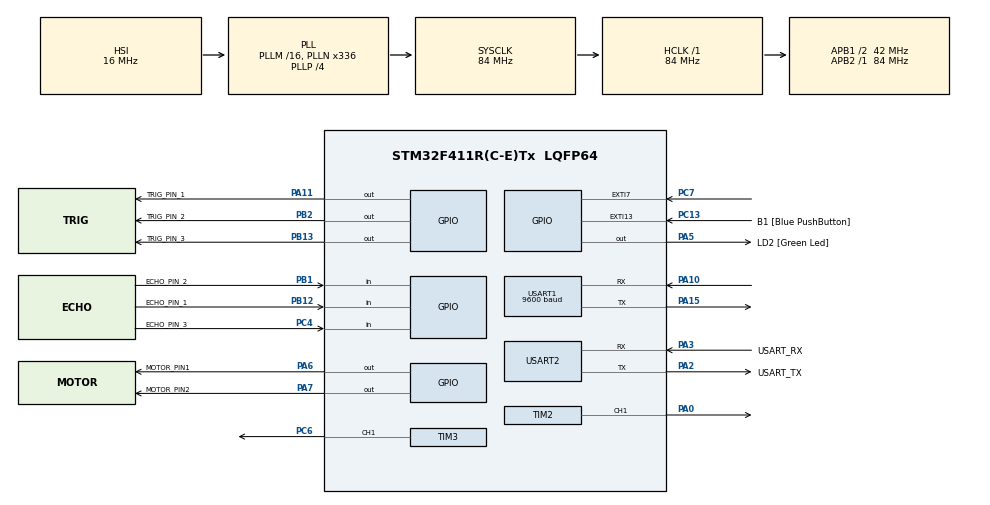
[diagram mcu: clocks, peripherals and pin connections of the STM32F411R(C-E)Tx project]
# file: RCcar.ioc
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FREERTOS.Tasks01=defaultTask,0,128,StartDefaultTask,Default,NULL,Dynamic,NULL,NULL;myTask02,-3,128,UltrasonicTask,Default,NULL,Dynamic,NULL,NULL;myTask03,-3,128,UartSendTask,Default,NULL,Dynamic,NULL,NULL;myTask04,-3,128,MotorControlTask,Default,NULL,Dynamic,NULL,NULL
FREERTOS.configUSE_IDLE_HOOK=1
Mcu.Family=STM32F4
Mcu.Name=STM32F411R(C-E)Tx
Mcu.Package=LQFP64
NVIC.PriorityGroup=NVIC_PRIORITYGROUP_4
NVIC.TIM2_IRQn=true\:5\:0\:false\:false\:true\:true\:true\:true\:true
NVIC.TIM3_IRQn=true\:5\:0\:false\:false\:true\:true\:true\:true\:true
NVIC.TIM4_IRQn=true\:5\:0\:false\:false\:true\:true\:true\:true\:true
NVIC.USART1_IRQn=true\:5\:0\:false\:false\:true\:true\:true\:true\:true
PA0-WKUP.Signal=S_TIM2_CH1_ETR
PA10.Mode=Asynchronous
PA10.Signal=USART1_RX
PA11.GPIO_Label=TRIG_PIN_1
PA11.Signal=GPIO_Output
PA13.GPIO_Label=TMS
PA13.Mode=Serial_Wire
PA13.Signal=SYS_JTMS-SWDIO
PA14.GPIO_Label=TCK
PA14.Mode=Serial_Wire
PA14.Signal=SYS_JTCK-SWCLK
PA15.Mode=Asynchronous
PA15.Signal=USART1_TX
PA2.GPIO_Label=USART_TX
PA2.Mode=Asynchronous
PA2.Signal=USART2_TX
PA3.GPIO_Label=USART_RX
PA3.Mode=Asynchronous
PA3.Signal=USART2_RX
PA5.GPIO_Label=LD2 [Green Led]
PA5.Signal=GPIO_Output
PA6.GPIO_Label=MOTOR_PIN1
PA6.GPIO_ModeDefaultOutputPP=GPIO_MODE_OUTPUT_PP
PA6.GPIO_PuPd=GPIO_NOPULL
PA6.GPIO_Speed=GPIO_SPEED_FREQ_LOW
PA6.PinState=GPIO_PIN_RESET
PA6.Signal=GPIO_Output
PA7.GPIO_Label=MOTOR_PIN2
PA7.GPIO_ModeDefaultOutputPP=GPIO_MODE_OUTPUT_PP
PA7.GPIO_PuPd=GPIO_NOPULL
PA7.GPIO_Speed=GPIO_SPEED_FREQ_LOW
PA7.PinState=GPIO_PIN_RESET
PA7.Signal=GPIO_Output
PB1.GPIO_Label=ECHO_PIN_2
PB1.Signal=GPIO_Input
PB12.GPIO_Label=ECHO_PIN_1
PB12.Signal=GPIO_Input
PB13.GPIO_Label=TRIG_PIN_3
PB13.Signal=GPIO_Output
PB2.GPIO_Label=TRIG_PIN_2
PB2.Signal=GPIO_Output
PB3.GPIO_Label=SWO
PB3.Signal=SYS_JTDO-SWO
PC13-ANTI_TAMP.GPIO_Label=B1 [Blue PushButton]
PC13-ANTI_TAMP.GPIO_ModeDefaultEXTI=GPIO_MODE_IT_FALLING
PC13-ANTI_TAMP.Signal=GPXTI13
PC14-OSC32_IN.Mode=LSE-External-Oscillator
PC14-OSC32_IN.Signal=RCC_OSC32_IN
PC15-OSC32_OUT.Mode=LSE-External-Oscillator
PC15-OSC32_OUT.Signal=RCC_OSC32_OUT
PC4.GPIO_Label=ECHO_PIN_3
PC4.Signal=GPIO_Input
PC6.Signal=S_TIM3_CH1
PC7.Signal=GPXTI7
PH0\ -\ OSC_IN.Mode=HSE-External-Clock-Source
PH0\ -\ OSC_IN.Signal=RCC_OSC_IN
PH1\ -\ OSC_OUT.Mode=HSE-External-Clock-Source
PH1\ -\ OSC_OUT.Signal=RCC_OSC_OUT
ProjectManager.HeapSize=0x200
ProjectManager.StackSize=0x400
ProjectManager.TargetToolchain=STM32CubeIDE
RCC.48MHZClocksFreq_Value=84000000
RCC.AHBFreq_Value=84000000
RCC.APB1CLKDivider=RCC_HCLK_DIV2
RCC.APB1Freq_Value=42000000
RCC.APB1TimFreq_Value=84000000
RCC.APB2Freq_Value=84000000
RCC.APB2TimFreq_Value=84000000
RCC.CortexFreq_Value=84000000
RCC.FLatency-AdvancedSettings=FLASH_LATENCY_2
RCC.HCLKFreq_Value=84000000
RCC.HSE_VALUE=8000000
RCC.HSI_VALUE=16000000
RCC.PLLN=336
RCC.PLLP=RCC_PLLP_DIV4
RCC.SYSCLKFreq_VALUE=84000000
RCC.SYSCLKSource=RCC_SYSCLKSOURCE_PLLCLK
RCC.VCOOutputFreq_Value=336000000
SH.S_TIM2_CH1_ETR.0=TIM2_CH1,PWM Generation1 CH1
SH.S_TIM3_CH1.0=TIM3_CH1,PWM Generation1 CH1
TIM1.Period=1000-1
TIM1.Prescaler=84-1
TIM2.Channel-PWM\ Generation1\ CH1=TIM_CHANNEL_1
TIM2.Period=1000-1
TIM2.Prescaler=84-1
TIM3.Channel-PWM\ Generation1\ CH1=TIM_CHANNEL_1
TIM3.Period=20000-1
TIM3.Prescaler=84-1
TIM4.Period=1000-1
TIM4.Prescaler=84-1
USART1.BaudRate=9600
USART1.VirtualMode=VM_ASYNC
USART2.VirtualMode=VM_ASYNC
VP_FREERTOS_VS_CMSIS_V1.Mode=CMSIS_V1
VP_TIM1_VS_ClockSourceINT.Mode=Internal
VP_TIM2_VS_ClockSourceINT.Mode=Internal
VP_TIM3_VS_ClockSourceINT.Mode=Internal
VP_TIM4_VS_ClockSourceINT.Mode=Internal
board=NUCLEO-F411RE

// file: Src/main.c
/* USER CODE BEGIN Header */
/**
 ******************************************************************************
 * @file           : main.c
 * @brief          : Main program body
 ******************************************************************************
 * @attention
 *
 * Copyright (c) 2025 STMicroelectronics.
 * All rights reserved.
 *
 * This software is licensed under terms that can be found in the LICENSE file
 * in the root directory of this software component.
 * If no LICENSE file comes with this software, it is provided AS-IS.
 *
 ******************************************************************************
 */
/* USER CODE END Header */
#include "main.h"
#include "cmsis_os.h"

/* USER CODE BEGIN Includes */
#include "HC_SR04.h"
#include "motor.h"
#include <stdio.h>
#include <string.h>
/* USER CODE END Includes */

/* USER CODE BEGIN PTD */
osThreadId UltrasonicTaskHandle;
osThreadId UartSendTaskHandle;
osThreadId MotorControlTaskHandle;
/* USER CODE END PTD */

/* USER CODE BEGIN PD */
#ifdef __GNUC__
/* With GCC, small printf (option LD Linker->Libraries->Small printf
   set to 'Yes') calls __io_putchar() */
#define PUTCHAR_PROTOTYPE int __io_putchar(int ch)
#else
#define PUTCHAR_PROTOTYPE int fputc(int ch, FILE *f)
#endif /* __GNUC__ */
#define RX_BUFFER_SIZE 100
#define QUEUE_SIZE 100
/* USER CODE END PD */

TIM_HandleTypeDef htim1;
TIM_HandleTypeDef htim2;
TIM_HandleTypeDef htim3;
TIM_HandleTypeDef htim4;

UART_HandleTypeDef huart1;
UART_HandleTypeDef huart2;

osThreadId defaultTaskHandle;
osThreadId myTask02Handle;
osThreadId myTask03Handle;
osThreadId myTask04Handle;
/* USER CODE BEGIN PV */
__IO uint16_t rx_data;
char rx_buffer[RX_BUFFER_SIZE];
__IO uint8_t rx_index = 0;
__IO int pulse;
__IO float distance[3] = {0.0};
int adcValue[6] = {0};
__IO uint8_t flag_10ms = 0;
__IO uint8_t flag_10ms1 = 0;
__IO uint8_t flag_10ms2 = 0;
char uartBuffer[50];  // UART 전송 버퍼

/* USER CODE END PV */

void SystemClock_Config(void);
static void MX_GPIO_Init(void);
static void MX_USART2_UART_Init(void);
static void MX_TIM3_Init(void);
static void MX_USART1_UART_Init(void);
static void MX_TIM1_Init(void);
static void MX_TIM2_Init(void);
static void MX_TIM4_Init(void);
void StartDefaultTask(void const * argument);
void UltrasonicTask(void const * argument);
void UartSendTask(void const * argument);
void MotorControlTask(void const * argument);

/* USER CODE BEGIN PFP */
void HAL_UART_RxCpltCallback(UART_HandleTypeDef *huart);
void HAL_TIM_PeriodElapsedCallback(TIM_HandleTypeDef *htim);
void Parse_adcValue(void);
void control_servo_motor(int handle_value);
void motorStatus(void);
uint8_t motorDirection(void);
void Task1(void *argument);
void Task2(void *argument);
/* USER CODE END PFP */

int main(void)
{

  /* MCU Configuration--------------------------------------------------------*/

  /* Reset of all peripherals, Initializes the Flash interface and the Systick. */
  HAL_Init();

  /* Configure the system clock */
  SystemClock_Config();

  /* Initialize all configured peripherals */
  MX_GPIO_Init();
  MX_USART2_UART_Init();
  MX_TIM3_Init();
  MX_USART1_UART_Init();
  MX_TIM1_Init();
  MX_TIM2_Init();
  MX_TIM4_Init();
  /* USER CODE BEGIN 2 */
  HAL_TIM_Base_Start(&htim1);
  HAL_TIM_Base_Start_IT(&htim4);
  if (HAL_TIM_PWM_Start(&htim2, TIM_CHANNEL_1) != HAL_OK)
  {
    Error_Handler();
  }
  if (HAL_TIM_PWM_Start(&htim3, TIM_CHANNEL_1) != HAL_OK)
  {
    Error_Handler();
  }
  HAL_UART_Receive_IT(&huart1, (uint8_t *)&rx_data, 1); // UART1에서 1바이트씩 수신
  motorForward();
  /* USER CODE END 2 */

  /* Create the thread(s) */
  /* definition and creation of defaultTask */
  osThreadDef(defaultTask, StartDefaultTask, osPriorityNormal, 0, 128);
  defaultTaskHandle = osThreadCreate(osThread(defaultTask), NULL);

  /* definition and creation of myTask02 */
  osThreadDef(UltrasonicTask, UltrasonicTask, osPriorityNormal, 0, 256);
  UltrasonicTaskHandle = osThreadCreate(osThread(UltrasonicTask), NULL);

  osThreadDef(UartSendTask, UartSendTask, osPriorityNormal, 0, 256);
  UartSendTaskHandle = osThreadCreate(osThread(UartSendTask), NULL);

  osThreadDef(MotorControlTask, MotorControlTask, osPriorityNormal, 0, 256);
  MotorControlTaskHandle = osThreadCreate(osThread(MotorControlTask), NULL);

  /* Start scheduler */
  osKernelStart();

  /* We should never get here as control is now taken by the scheduler */

  /* Infinite loop */
  /* USER CODE BEGIN WHILE */
  while (1)
  {
    // if (flag_10ms)
    // {
    //   flag_10ms = 0;
    //   distance[0] = measure_distance(0);
    //   distance[1] = measure_distance(1);
    //   distance[2] = measure_distance(2);
    //   Parse_adcValue();
    //   control_servo_motor(adcValue[0]);
    //   motorStatus();
    //   printf("%d %d %d %d %d %d\n", adcValue[0], adcValue[1], adcValue[2], adcValue[3], adcValue[4], adcValue[5]);
    // }
    /* USER CODE END WHILE */

  }
}

void SystemClock_Config(void)
{
  RCC_OscInitTypeDef RCC_OscInitStruct = {0};
  RCC_ClkInitTypeDef RCC_ClkInitStruct = {0};

  /** Configure the main internal regulator output voltage
  */
  __HAL_RCC_PWR_CLK_ENABLE();
  __HAL_PWR_VOLTAGESCALING_CONFIG(PWR_REGULATOR_VOLTAGE_SCALE1);

  /** Initializes the RCC Oscillators according to the specified parameters
  * in the RCC_OscInitTypeDef structure.
  */
  RCC_OscInitStruct.OscillatorType = RCC_OSCILLATORTYPE_HSI;
  RCC_OscInitStruct.HSIState = RCC_HSI_ON;
  RCC_OscInitStruct.HSICalibrationValue = RCC_HSICALIBRATION_DEFAULT;
  RCC_OscInitStruct.PLL.PLLState = RCC_PLL_ON;
  RCC_OscInitStruct.PLL.PLLSource = RCC_PLLSOURCE_HSI;
  RCC_OscInitStruct.PLL.PLLM = 16;
  RCC_OscInitStruct.PLL.PLLN = 336;
  RCC_OscInitStruct.PLL.PLLP = RCC_PLLP_DIV4;
  RCC_OscInitStruct.PLL.PLLQ = 4;
  if (HAL_RCC_OscConfig(&RCC_OscInitStruct) != HAL_OK)
  {
    Error_Handler();
  }

  /** Initializes the CPU, AHB and APB buses clocks
  */
  RCC_ClkInitStruct.ClockType = RCC_CLOCKTYPE_HCLK|RCC_CLOCKTYPE_SYSCLK
                              |RCC_CLOCKTYPE_PCLK1|RCC_CLOCKTYPE_PCLK2;
  RCC_ClkInitStruct.SYSCLKSource = RCC_SYSCLKSOURCE_PLLCLK;
  RCC_ClkInitStruct.AHBCLKDivider = RCC_SYSCLK_DIV1;
  RCC_ClkInitStruct.APB1CLKDivider = RCC_HCLK_DIV2;
  RCC_ClkInitStruct.APB2CLKDivider = RCC_HCLK_DIV1;

  if (HAL_RCC_ClockConfig(&RCC_ClkInitStruct, FLASH_LATENCY_2) != HAL_OK)
  {
    Error_Handler();
  }
}

static void MX_TIM1_Init(void)
{

  TIM_ClockConfigTypeDef sClockSourceConfig = {0};
  TIM_MasterConfigTypeDef sMasterConfig = {0};

  htim1.Instance = TIM1;
  htim1.Init.Prescaler = 84-1;
  htim1.Init.CounterMode = TIM_COUNTERMODE_UP;
  htim1.Init.Period = 1000-1;
  htim1.Init.ClockDivision = TIM_CLOCKDIVISION_DIV1;
  htim1.Init.RepetitionCounter = 0;
  htim1.Init.AutoReloadPreload = TIM_AUTORELOAD_PRELOAD_DISABLE;
  if (HAL_TIM_Base_Init(&htim1) != HAL_OK)
  {
    Error_Handler();
  }
  sClockSourceConfig.ClockSource = TIM_CLOCKSOURCE_INTERNAL;
  if (HAL_TIM_ConfigClockSource(&htim1, &sClockSourceConfig) != HAL_OK)
  {
    Error_Handler();
  }
  sMasterConfig.MasterOutputTrigger = TIM_TRGO_RESET;
  sMasterConfig.MasterSlaveMode = TIM_MASTERSLAVEMODE_DISABLE;
  if (HAL_TIMEx_MasterConfigSynchronization(&htim1, &sMasterConfig) != HAL_OK)
  {
    Error_Handler();
  }

}

static void MX_TIM2_Init(void)
{

  TIM_ClockConfigTypeDef sClockSourceConfig = {0};
  TIM_MasterConfigTypeDef sMasterConfig = {0};
  TIM_OC_InitTypeDef sConfigOC = {0};

  htim2.Instance = TIM2;
  htim2.Init.Prescaler = 84-1;
  htim2.Init.CounterMode = TIM_COUNTERMODE_UP;
  htim2.Init.Period = 1000-1;
  htim2.Init.ClockDivision = TIM_CLOCKDIVISION_DIV1;
  htim2.Init.AutoReloadPreload = TIM_AUTORELOAD_PRELOAD_DISABLE;
  if (HAL_TIM_Base_Init(&htim2) != HAL_OK)
  {
    Error_Handler();
  }
  sClockSourceConfig.ClockSource = TIM_CLOCKSOURCE_INTERNAL;
  if (HAL_TIM_ConfigClockSource(&htim2, &sClockSourceConfig) != HAL_OK)
  {
    Error_Handler();
  }
  if (HAL_TIM_PWM_Init(&htim2) != HAL_OK)
  {
    Error_Handler();
  }
  sMasterConfig.MasterOutputTrigger = TIM_TRGO_RESET;
  sMasterConfig.MasterSlaveMode = TIM_MASTERSLAVEMODE_DISABLE;
  if (HAL_TIMEx_MasterConfigSynchronization(&htim2, &sMasterConfig) != HAL_OK)
  {
    Error_Handler();
  }
  sConfigOC.OCMode = TIM_OCMODE_PWM1;
  sConfigOC.Pulse = 0;
  sConfigOC.OCPolarity = TIM_OCPOLARITY_HIGH;
  sConfigOC.OCFastMode = TIM_OCFAST_DISABLE;
  if (HAL_TIM_PWM_ConfigChannel(&htim2, &sConfigOC, TIM_CHANNEL_1) != HAL_OK)
  {
    Error_Handler();
  }
  HAL_TIM_MspPostInit(&htim2);

}

static void MX_TIM3_Init(void)
{

  TIM_ClockConfigTypeDef sClockSourceConfig = {0};
  TIM_MasterConfigTypeDef sMasterConfig = {0};
  TIM_OC_InitTypeDef sConfigOC = {0};

  htim3.Instance = TIM3;
  htim3.Init.Prescaler = 84-1;
  htim3.Init.CounterMode = TIM_COUNTERMODE_UP;
  htim3.Init.Period = 20000-1;
  htim3.Init.ClockDivision = TIM_CLOCKDIVISION_DIV1;
  htim3.Init.AutoReloadPreload = TIM_AUTORELOAD_PRELOAD_DISABLE;
  if (HAL_TIM_Base_Init(&htim3) != HAL_OK)
  {
    Error_Handler();
  }
  sClockSourceConfig.ClockSource = TIM_CLOCKSOURCE_INTERNAL;
  if (HAL_TIM_ConfigClockSource(&htim3, &sClockSourceConfig) != HAL_OK)
  {
    Error_Handler();
  }
  if (HAL_TIM_PWM_Init(&htim3) != HAL_OK)
  {
    Error_Handler();
  }
  sMasterConfig.MasterOutputTrigger = TIM_TRGO_RESET;
  sMasterConfig.MasterSlaveMode = TIM_MASTERSLAVEMODE_DISABLE;
  if (HAL_TIMEx_MasterConfigSynchronization(&htim3, &sMasterConfig) != HAL_OK)
  {
    Error_Handler();
  }
  sConfigOC.OCMode = TIM_OCMODE_PWM1;
  sConfigOC.Pulse = 0;
  sConfigOC.OCPolarity = TIM_OCPOLARITY_HIGH;
  sConfigOC.OCFastMode = TIM_OCFAST_DISABLE;
  if (HAL_TIM_PWM_ConfigChannel(&htim3, &sConfigOC, TIM_CHANNEL_1) != HAL_OK)
  {
    Error_Handler();
  }
  HAL_TIM_MspPostInit(&htim3);

}

static void MX_TIM4_Init(void)
{

  TIM_ClockConfigTypeDef sClockSourceConfig = {0};
  TIM_MasterConfigTypeDef sMasterConfig = {0};

  htim4.Instance = TIM4;
  htim4.Init.Prescaler = 84-1;
  htim4.Init.CounterMode = TIM_COUNTERMODE_UP;
  htim4.Init.Period = 1000-1;
  htim4.Init.ClockDivision = TIM_CLOCKDIVISION_DIV1;
  htim4.Init.AutoReloadPreload = TIM_AUTORELOAD_PRELOAD_DISABLE;
  if (HAL_TIM_Base_Init(&htim4) != HAL_OK)
  {
    Error_Handler();
  }
  sClockSourceConfig.ClockSource = TIM_CLOCKSOURCE_INTERNAL;
  if (HAL_TIM_ConfigClockSource(&htim4, &sClockSourceConfig) != HAL_OK)
  {
    Error_Handler();
  }
  sMasterConfig.MasterOutputTrigger = TIM_TRGO_RESET;
  sMasterConfig.MasterSlaveMode = TIM_MASTERSLAVEMODE_DISABLE;
  if (HAL_TIMEx_MasterConfigSynchronization(&htim4, &sMasterConfig) != HAL_OK)
  {
    Error_Handler();
  }

}

static void MX_USART1_UART_Init(void)
{

  huart1.Instance = USART1;
  huart1.Init.BaudRate = 9600;
  huart1.Init.WordLength = UART_WORDLENGTH_8B;
  huart1.Init.StopBits = UART_STOPBITS_1;
  huart1.Init.Parity = UART_PARITY_NONE;
  huart1.Init.Mode = UART_MODE_TX_RX;
  huart1.Init.HwFlowCtl = UART_HWCONTROL_NONE;
  huart1.Init.OverSampling = UART_OVERSAMPLING_16;
  if (HAL_UART_Init(&huart1) != HAL_OK)
  {
    Error_Handler();
  }

}

static void MX_USART2_UART_Init(void)
{

  huart2.Instance = USART2;
  huart2.Init.BaudRate = 115200;
  huart2.Init.WordLength = UART_WORDLENGTH_8B;
  huart2.Init.StopBits = UART_STOPBITS_1;
  huart2.Init.Parity = UART_PARITY_NONE;
  huart2.Init.Mode = UART_MODE_TX_RX;
  huart2.Init.HwFlowCtl = UART_HWCONTROL_NONE;
  huart2.Init.OverSampling = UART_OVERSAMPLING_16;
  if (HAL_UART_Init(&huart2) != HAL_OK)
  {
    Error_Handler();
  }

}

static void MX_GPIO_Init(void)
{
  GPIO_InitTypeDef GPIO_InitStruct = {0};

  /* GPIO Ports Clock Enable */
  __HAL_RCC_GPIOC_CLK_ENABLE();
  __HAL_RCC_GPIOH_CLK_ENABLE();
  __HAL_RCC_GPIOA_CLK_ENABLE();
  __HAL_RCC_GPIOB_CLK_ENABLE();

  /*Configure GPIO pin Output Level */
  HAL_GPIO_WritePin(GPIOA, LD2_Pin|MOTOR_PIN1_Pin|MOTOR_PIN2_Pin|TRIG_PIN_1_Pin, GPIO_PIN_RESET);

  /*Configure GPIO pin Output Level */
  HAL_GPIO_WritePin(GPIOB, TRIG_PIN_2_Pin|TRIG_PIN_3_Pin, GPIO_PIN_RESET);

  /*Configure GPIO pin : B1_Pin */
  GPIO_InitStruct.Pin = B1_Pin;
  GPIO_InitStruct.Mode = GPIO_MODE_IT_FALLING;
  GPIO_InitStruct.Pull = GPIO_NOPULL;
  HAL_GPIO_Init(B1_GPIO_Port, &GPIO_InitStruct);

  /*Configure GPIO pins : LD2_Pin MOTOR_PIN1_Pin MOTOR_PIN2_Pin TRIG_PIN_1_Pin */
  GPIO_InitStruct.Pin = LD2_Pin|MOTOR_PIN1_Pin|MOTOR_PIN2_Pin|TRIG_PIN_1_Pin;
  GPIO_InitStruct.Mode = GPIO_MODE_OUTPUT_PP;
  GPIO_InitStruct.Pull = GPIO_NOPULL;
  GPIO_InitStruct.Speed = GPIO_SPEED_FREQ_LOW;
  HAL_GPIO_Init(GPIOA, &GPIO_InitStruct);

  /*Configure GPIO pin : ECHO_PIN_3_Pin */
  GPIO_InitStruct.Pin = ECHO_PIN_3_Pin;
  GPIO_InitStruct.Mode = GPIO_MODE_INPUT;
  GPIO_InitStruct.Pull = GPIO_NOPULL;
  HAL_GPIO_Init(ECHO_PIN_3_GPIO_Port, &GPIO_InitStruct);

  /*Configure GPIO pins : ECHO_PIN_2_Pin ECHO_PIN_1_Pin */
  GPIO_InitStruct.Pin = ECHO_PIN_2_Pin|ECHO_PIN_1_Pin;
  GPIO_InitStruct.Mode = GPIO_MODE_INPUT;
  GPIO_InitStruct.Pull = GPIO_NOPULL;
  HAL_GPIO_Init(GPIOB, &GPIO_InitStruct);

  /*Configure GPIO pins : TRIG_PIN_2_Pin TRIG_PIN_3_Pin */
  GPIO_InitStruct.Pin = TRIG_PIN_2_Pin|TRIG_PIN_3_Pin;
  GPIO_InitStruct.Mode = GPIO_MODE_OUTPUT_PP;
  GPIO_InitStruct.Pull = GPIO_NOPULL;
  GPIO_InitStruct.Speed = GPIO_SPEED_FREQ_LOW;
  HAL_GPIO_Init(GPIOB, &GPIO_InitStruct);

  /*Configure GPIO pin : PC7 */
  GPIO_InitStruct.Pin = GPIO_PIN_7;
  GPIO_InitStruct.Mode = GPIO_MODE_IT_RISING;
  GPIO_InitStruct.Pull = GPIO_NOPULL;
  HAL_GPIO_Init(GPIOC, &GPIO_InitStruct);

}

/* USER CODE BEGIN 4 */
PUTCHAR_PROTOTYPE
{
  /* Place your implementation of fputc here */
  /* e.g. write a character to the USART6 and Loop until the end of transmission */
  HAL_UART_Transmit(&huart2, (uint8_t *)&ch, 1, 0xFFFF);

  return ch;
}
void HAL_UART_RxCpltCallback(UART_HandleTypeDef *huart)
{
  if (huart->Instance == USART1)
  {
    if (rx_data == '\n')
    {
      rx_buffer[rx_index] = '\0';
      rx_index = 0;
    }
    else
    {
      if (rx_index < RX_BUFFER_SIZE - 1)
      {
        rx_buffer[rx_index++] = rx_data;
      }
      else
      {
        rx_index = 0;
      }
    }
  }

  // 다음 데이터를 수신하도록 인터럽트를 다시 설정
  HAL_UART_Receive_IT(&huart1, &rx_data, 1);
}

void HAL_TIM_PeriodElapsedCallback(TIM_HandleTypeDef *htim)
{
  if (htim->Instance == TIM4)
  {
    static uint8_t counter = 0;
    counter++;
    if (counter >= 100)
    {
      flag_10ms = 1;
      flag_10ms1 = 1;
      flag_10ms2 = 1;
      counter = 0;
    }
  }
}
void Parse_adcValue(void)
{
  char *token;
  int index = 0;
  token = strtok(rx_buffer, ",");
  while (token != NULL && index < 6)
  {
    adcValue[index++] = atoi(token);
    token = strtok(NULL, ",");
  }
}

int map(int x, int in_min, int in_max, int out_min, int out_max)
{
  return (x - in_min) * (out_max - out_min) / (in_max - in_min) + out_min;
}

void control_servo_motor(int handle_value)
{
  uint16_t pwm_value = 1500; // 기본값: 중앙값 (1500µs)

  if (handle_value < 500) // 왼쪽 구간
  {
    pwm_value = map(handle_value, 500, 0, 1500, 1850); // 0~500 → 1500~1850
  }
  else if (handle_value > 600) // 오른쪽 구간
  {
    pwm_value = map(handle_value, 600, 1100, 1500, 1000); // 600~1100 → 1500~1000
  }
  pwm_value = (pwm_value / 10) * 10;
  TIM3->CCR1 = pwm_value;
  // printf("Handle Value: %d -> Servo PWM: %d\n", handle_value, pwm_value);
}

void motorStatus(void)
{
  uint8_t motordirection = motorDirection();
  int brakeValue = adcValue[2];
  int accelValue = adcValue[1];
  int currentPWM = TIM2->CCR1;
  int maxPWM = 1000;
  int minPWM = 0;
  if (adcValue[5] == 0)
  {
    if (adcValue[1] <= 100)
    {
      HAL_TIM_PWM_Stop_IT(&htim2, TIM_CHANNEL_1);
    }
    else if (adcValue[1] > 100)
    {
      HAL_TIM_PWM_Start_IT(&htim2, TIM_CHANNEL_1);
      if (brakeValue > 100)
      {
        if (brakeValue > 800)
        {
          if (motordirection == 1)
            motorBack();
          else if (motordirection == 2)
            motorForward();
        }
        int reducedPWM = currentPWM * (4095 - brakeValue) / 4095;
        if (reducedPWM < minPWM)
          reducedPWM = minPWM;
        motorSpeed(reducedPWM);
      }
      else
        motorSpeed(adcValue[1]);
    }
  }
  else if (adcValue[5] == 1)
  {
    HAL_TIM_PWM_Start_IT(&htim2, TIM_CHANNEL_1);
    motorSpeed(400);
  }
}

uint8_t motorDirection(void)
{
  if (adcValue[4] == 1)
  {
    motorForward();
    return 1;
  }
  else if (adcValue[4] == 2)
  {
    motorBack();
    return 2;
  }
}
/* USER CODE END 4 */

void StartDefaultTask(void const * argument)
{
  for (;;)
  {
  }
}

void UltrasonicTask(void const * argument)
{
  /* USER CODE BEGIN UltrasonicTask */
  /* Infinite loop */
  while (1)
  {
    // if (flag_10ms)
    // {
    //   flag_10ms1 = 0;
    //   distance[0] = measure_distance(0);
    //   distance[1] = measure_distance(1);
    //   distance[2] = measure_distance(2);
    // }
  }
  /* USER CODE END UltrasonicTask */
}

void UartSendTask(void const * argument)
{
  /* USER CODE BEGIN UartSendTask */
  /* Infinite loop */
  while (1)
  {
    if(flag_10ms1){
      flag_10ms1 = 0;
      snprintf(uartBuffer, sizeof(uartBuffer), "D1: %.2f, D2: %.2f, D3: %.2f\n", distance[0], distance[1], distance[2]);
      printf("%d %d %d %d %d %d\n", adcValue[0], adcValue[1], adcValue[2], adcValue[3] ,adcValue[4], adcValue[5]);
      HAL_UART_Transmit(&huart2, (uint8_t *)uartBuffer, strlen(uartBuffer), 100);
    }
  }
  /* USER CODE END UartSendTask */
}

void MotorControlTask(void const * argument)
{
  /* USER CODE BEGIN MotorControlTask */
  /* Infinite loop */
  while (1)
  {
    if(flag_10ms2){
      flag_10ms2 = 0;
      Parse_adcValue();
      control_servo_motor(adcValue[0]);
      motorStatus();
    }
  }
  /* USER CODE END MotorControlTask */
}

void Error_Handler(void)
{
  __disable_irq();
  while (1)
  {
  }
}
